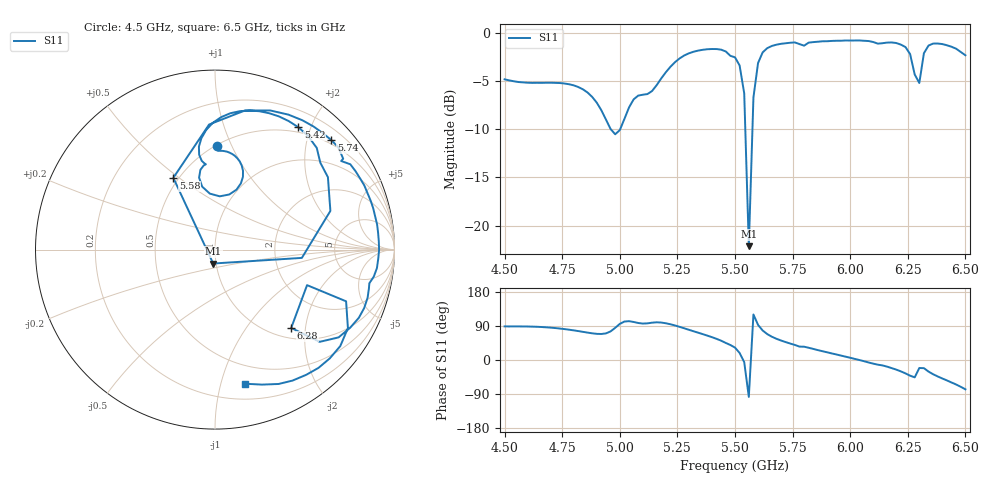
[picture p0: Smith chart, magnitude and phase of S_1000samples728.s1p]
! TOUCHSTONE file generated by CST MICROWAVE STUDIO
! Date and time: Sat Oct 29 04:31:44 2022
! Project name: L.cst
! Parameters = {Di=1.27; Epsilon_r=1.56; InnerDiameter=1.27; Length=2; Lf=10; Lg=60; OuterConductorThickness=0.2921; OuterDiameter=3.6; Wf=3; Wp=41.2; de=1.5; df=6.8; g=0.8; gx=1.48068; gy=3.72276; h=2.34; hf=1.524; px=14.8669; py=14.2417; w=9.7; wx=13.3862; wy=10.519}
! Header version: 2018
! Port assignment regex: !\s*Touchstone port\s*([0-9]+)\s*=\s*(CST MWS port|CST DS port)\s*([0-9]+|Zmin|Zmax)\s*\(\"(.*)\"\)(\s*mode\s*([0-9]+))?.*
! Touchstone port assignment:
! Touchstone port 1 = CST MWS port 1 ("")
# GHz S DB R 50
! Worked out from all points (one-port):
!   101 points, 4.5 GHz to 6.5 GHz, reference 50 ohm
!   lowest |S11| = -22.1 dB at 5.56 GHz (marker M1), VSWR 1.17, Z = 48.4 - j7.56 ohm
!   |S11| at or under -10 dB: 4.961 GHz to 5.001 GHz (40.47 MHz wide, 0.813 % of centre); 5.545 GHz to 5.576 GHz (31.01 MHz wide, 0.558 % of centre)
!   S11 on the Smith chart (normalised r, x): 4.5 GHz: 0.51, +0.88; 5.42 GHz: 0.42, +1.81; 5.58 GHz: 0.47, +0.48; 5.74 GHz: 0.42, +2.45; 6.28 GHz: 1.21, -1.67; 6.5 GHz: 0.33, -1.19
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4.5  -4.81 88.6
4.76  -5.25 81.6
4.9  -7.23 69.0
5  -10.09 95.3
5.06  -6.90 100.4
5.18  -4.72 98.9
5.26  -2.63 87.4
5.34  -1.83 72.1
5.42  -1.67 55.8
5.5  -2.53 32.7
5.52  -3.37 18.5
5.54  -6.26 -5.5
5.56  -22.13 -97.4
5.58  -6.70 120.1
5.6  -3.13 92.7
5.62  -2.02 77.9
5.66  -1.35 61.4
5.74  -1.01 43.4
5.76  -0.99 39.7
6  -0.79 5.9
6.18  -0.99 -21.4
6.26  -2.19 -41.4
6.28  -4.31 -45.8
6.3  -5.20 -21.1
6.32  -2.10 -21.5
6.34  -1.31 -30.6
6.4  -1.15 -48.8
6.5  -2.32 -77.4
